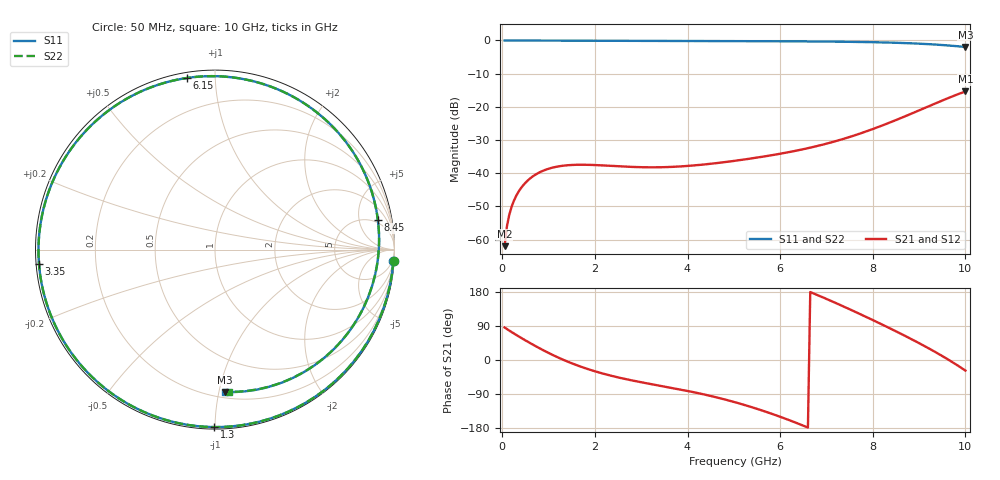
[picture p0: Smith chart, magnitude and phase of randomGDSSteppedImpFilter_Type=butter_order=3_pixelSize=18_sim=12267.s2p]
! freq	dB(S11)	phase(S11)	dB(S12)	phase(S12)
!  dB(S21)	phase(S21)	dB(S22)	phase(S22)
!S-par simulation data
#  GHz  S  DB  R 50
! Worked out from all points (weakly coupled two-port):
!   200 points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, 50 MHz to 10 GHz, reference 50 ohm
!   highest |S21| = -15.41 dB at 10 GHz (marker M1); lowest = -62.0 dB at 50 MHz (marker M2)
!   lowest |S11| = -2.0 dB at 10 GHz (marker M3), VSWR 8.78, Z = 12 - j52 ohm
!   |S11| at or under -10 dB: nowhere
!   |S22| runs from -2.0 to 0.0 dB; largest |S21 - S12| = 0
!   S11 on the Smith chart (normalised r, x): 50 MHz: 2, -31; 1.3 GHz: 0.01, -1.00; 3.35 GHz: 0.01, -0.04; 6.15 GHz: 0.03, +0.85; 8.45 GHz: 4, +9; 10 GHz: 0.24, -1.04
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0.05  -0.03 -3.7  -62.00 85.8  -62.00 85.8  -0.03 -3.7
0.1  -0.04 -7.7  -56.03 81.6  -56.03 81.6  -0.04 -7.6
0.15  -0.05 -11.5  -52.59 77.6  -52.59 77.6  -0.04 -11.5
0.25  -0.05 -19.3  -48.33 69.9  -48.33 69.9  -0.05 -19.3
0.4  -0.05 -30.6  -44.58 58.9  -44.58 58.9  -0.05 -30.6
0.85  -0.08 -62.5  -39.46 28.0  -39.46 28.0  -0.08 -62.5
1.3  -0.10 -90.2  -37.78 1.5  -37.78 1.5  -0.10 -90.2
1.75  -0.11 -113.7  -37.47 -19.9  -37.47 -19.9  -0.11 -113.7
2.5  -0.12 -145.8  -37.93 -45.9  -37.93 -45.9  -0.12 -145.8
3.35  -0.14 -175.4  -38.24 -66.7  -38.24 -66.7  -0.14 -175.4
3.4  -0.14 -177.0  -38.23 -67.8  -38.23 -67.8  -0.14 -177.0
4.2  -0.17 158.4  -37.60 -86.7  -37.60 -86.7  -0.17 158.5
5.05  -0.20 133.2  -36.23 -112.3  -36.23 -112.3  -0.20 133.3
6.15  -0.27 99.3  -33.77 -156.6  -33.77 -156.6  -0.27 99.6
6.7  -0.32 80.9  -32.16 176.8  -32.16 176.8  -0.32 81.3
7.5  -0.44 51.4  -29.11 134.0  -29.11 134.0  -0.43 51.9
8.35  -0.66 14.9  -24.86 84.8  -24.86 84.8  -0.66 15.7
8.45  -0.70 10.2  -24.30 78.8  -24.30 78.8  -0.70 11.0
8.85  -0.90 -10.1  -21.99 54.1  -21.99 54.1  -0.89 -9.2
9.2  -1.14 -30.0  -19.91 31.3  -19.91 31.3  -1.13 -28.8
9.65  -1.56 -59.3  -17.27 -0.4  -17.27 -0.4  -1.55 -57.9
10  -1.99 -86.1  -15.41 -27.9  -15.41 -27.9  -1.97 -84.4
